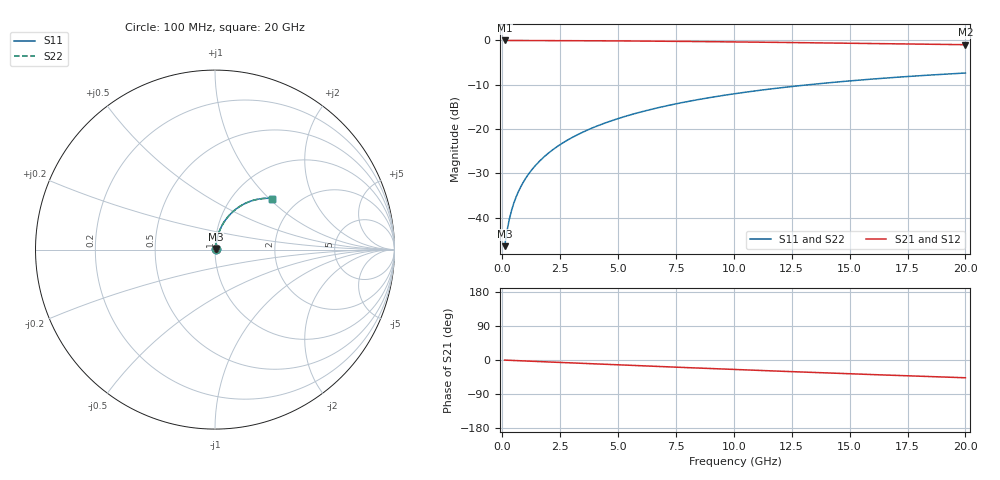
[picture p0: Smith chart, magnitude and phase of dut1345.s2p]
! Touchstone file exported from HFSS 2026.1.0
!  File:  C:/ffzhzh/LocalFiles/Ansys_Project_Files/temp_train_TMRDL_1345_1783165425_18472.aedt
!  Generated:  07:44:57 PM Jul  4, 2026
!  Design:  TMRDL
!  Project:  temp_train_TMRDL_1345_1783165425_18472
! Variables:
!  h_bsmrdl = 2um
!  h_ox = 20um
!  h_rdl = 5um
!  h_sub = 80um
!  h_tmrdl = 2.84um
!  h_tsv = 80um
!  h_via = 3um
!  l_bsmrdl = 300um
!  l_sub = 1080.75um
!  l_tmrdl = 680.75um
!  m_sub = 200um
!  pitch = 52.89um
!  r_tsv = 6um
!  s_tmrdl = 10um
!  w_bsmrdl = 18um
!  w_sub = 500um
!  w_tmrdl = 23.95um
!  x_tsv_center1 = 692.725um
!  x_tsv_center2 = 1010.725um
!  x_tsv_center3 = 1715.425um
!  x_tsv_center4 = 2033.425um
!  x_tsv_center5 = 2738.125um
!  x_tsv_center6 = 3056.125um
# GHz S MA R 50.000000
! Terminal data exported
! Port[1] = TM_RDL1_1_T1
! Port[2] = TM_RDL1_1_T2
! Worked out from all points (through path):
!   200 points, 100 MHz to 20 GHz, reference 50 ohm
!   highest |S21| = -0.03 dB at 100 MHz (marker M1); lowest = -1.0 dB at 20 GHz (marker M2)
!   group delay of S21, straight-line fit = 6.53 ps
!   lowest |S11| = -46.4 dB at 100 MHz (marker M3), VSWR 1.01, Z = 50.4 + j0.295 ohm
!   |S11| at or under -10 dB: start of sweep to 13.24 GHz
!   |S22| runs from -46.4 to -7.4 dB; largest |S21 - S12| = 3.5e-15
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0.1  0.004801 37.6  0.9962 -0.3  0.9962 -0.3  0.004801 37.6
! Gamma 0 0 0 0
! Port Impedance 50 0 50 0
0.2  0.007038 55.4  0.996 -0.5  0.996 -0.5  0.007038 55.4
0.3  0.009564 63.6  0.9958 -0.8  0.9958 -0.8  0.009564 63.6
0.4  0.01214 68.2  0.9956 -1.1  0.9956 -1.1  0.01214 68.2
0.5  0.01472 71.1  0.9955 -1.3  0.9955 -1.3  0.01472 71.1
0.6  0.01729 73.1  0.9953 -1.6  0.9953 -1.6  0.01729 73.1
0.8  0.02246 75.7  0.995 -2.1  0.995 -2.1  0.02246 75.7
1.1  0.03025 77.8  0.9947 -2.9  0.9947 -2.9  0.03025 77.8
1.3  0.03547 78.5  0.9944 -3.4  0.9944 -3.4  0.03547 78.5
1.6  0.04332 79.1  0.994 -4.1  0.994 -4.1  0.04332 79.1
2.1  0.05644 79.3  0.9932 -5.4  0.9932 -5.4  0.05644 79.3
2.7  0.07215 78.8  0.992 -6.9  0.992 -6.9  0.07215 78.8
3.5  0.09297 77.5  0.99 -9.0  0.99 -9.0  0.09297 77.5
4.2  0.111 76.2  0.9879 -10.7  0.9879 -10.7  0.111 76.2
5  0.1313 74.5  0.9851 -12.7  0.9851 -12.7  0.1313 74.5
5.9  0.1538 72.5  0.9814 -15.0  0.9814 -15.0  0.1538 72.5
6.8  0.1758 70.5  0.9773 -17.2  0.9773 -17.2  0.1758 70.5
8.3  0.2113 67.0  0.9696 -20.9  0.9696 -20.9  0.2113 67.0
10.1  0.2517 62.9  0.9592 -25.2  0.9592 -25.2  0.2517 62.9
13.4  0.3193 55.5  0.9378 -32.8  0.9378 -32.8  0.3193 55.5
16.7  0.3781 48.4  0.9151 -40.0  0.9151 -40.0  0.3781 48.4
20  0.4282 41.7  0.8926 -46.9  0.8926 -46.9  0.4281 41.7
